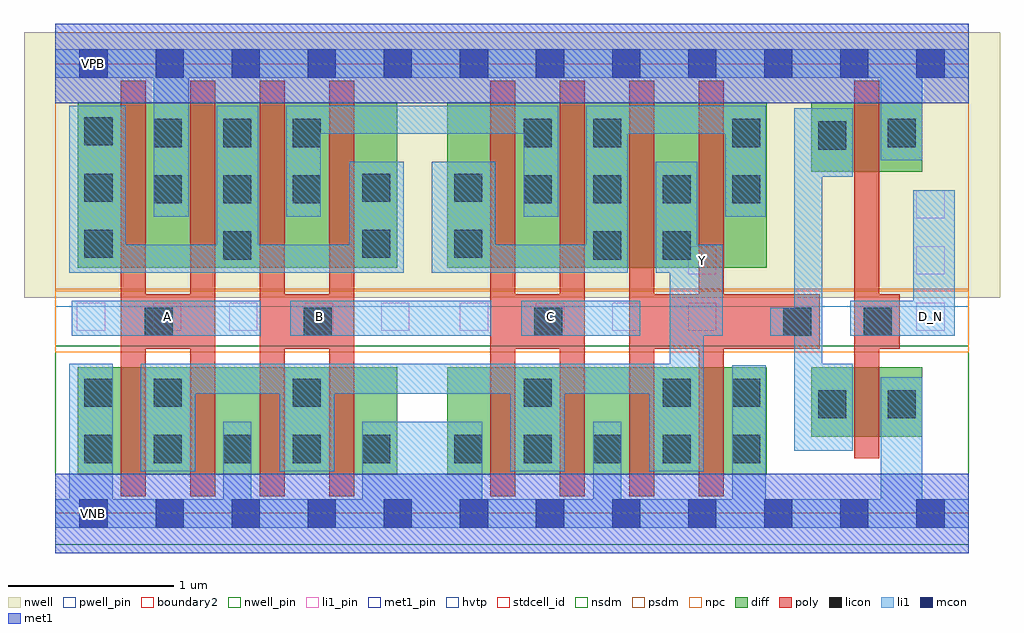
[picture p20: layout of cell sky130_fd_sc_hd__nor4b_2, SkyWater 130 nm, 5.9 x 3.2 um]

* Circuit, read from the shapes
.subckt sky130_fd_sc_hd__nor4b_2 A B C D_N VGND VNB VPB VPWR Y
XM1 Y A VGND VNB sky130_fd_pr__nfet_01v8 w=0.65 l=0.15 m=2
XM2 Y B VGND VNB sky130_fd_pr__nfet_01v8 w=0.65 l=0.15 m=2
XM3 Y C VGND VNB sky130_fd_pr__nfet_01v8 w=0.65 l=0.15 m=2
XM4 Y n1 VGND VNB sky130_fd_pr__nfet_01v8 w=0.65 l=0.15 m=2
XM5 VGND D_N n1 VNB sky130_fd_pr__nfet_01v8 w=0.42 l=0.15
XM6 VPWR A n2 VPB sky130_fd_pr__pfet_01v8_hvt w=1 l=0.15 m=2
XM7 n3 B n2 VPB sky130_fd_pr__pfet_01v8_hvt w=1 l=0.15 m=2
XM8 n3 C n4 VPB sky130_fd_pr__pfet_01v8_hvt w=1 l=0.15 m=2
XM9 Y n1 n4 VPB sky130_fd_pr__pfet_01v8_hvt w=1 l=0.15 m=2
XM10 VPWR D_N n1 VPB sky130_fd_pr__pfet_01v8_hvt w=0.42 l=0.15
.ends

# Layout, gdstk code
import gdstk
lib = gdstk.Library(unit=1e-6, precision=1e-09)
def R(c, l, rs):  # rectangles x0, y0, x1, y1
    for r in rs: c.add(gdstk.rectangle(r[:2], r[2:], *l))
def A(c, l, x, y, w, h, nx, ny, dx, dy):  # array of equal rectangles
    R(c, l, [(x+i*dx, y+j*dy, x+i*dx+w, y+j*dy+h) for i in range(nx) for j in range(ny)])
def P(c, l, *ps):  # polygons
    for p in ps: c.add(gdstk.Polygon(p, *l))
nwell_pin = (64, 16)
nwell = (64, 20)
diff = (65, 20)
poly = (66, 20)
licon = (66, 44)
li1_pin = (67, 16)
li1 = (67, 20)
mcon = (67, 44)
met1_pin = (68, 16)
met1 = (68, 20)
hvtp = (78, 44)
stdcell_id = (81, 4)
nsdm = (93, 44)
psdm = (94, 20)
npc = (95, 20)
pwell_pin = (122, 16)
boundary2 = (236, 0)

sky130_fd_sc_hd__nor4b_2 = lib.new_cell('sky130_fd_sc_hd__nor4b_2')
R(sky130_fd_sc_hd__nor4b_2, nwell_pin, [(0.145,2.635,0.315,2.805)])
R(sky130_fd_sc_hd__nor4b_2, nwell, [(-0.19,1.305,5.71,2.91)])
R(sky130_fd_sc_hd__nor4b_2, diff, [(0.135,0.235,2.065,0.885), (2.37,0.235,4.3,0.885), (4.57,0.465,5.24,0.885), (0.135,1.485,2.065,2.485), (2.37,1.485,4.3,2.485), (4.57,2.065,5.24,2.485)])
P(sky130_fd_sc_hd__nor4b_2, poly, [(4.83,0.335),(4.83,2.615),(4.98,2.615),(4.98,1.325),(5.105,1.325),(5.105,0.995),(4.98,0.995),(4.98,0.335)],
  [(3.47,0.105),(3.47,2.615),(3.62,2.615),(3.62,1.325),(3.89,1.325),(3.89,2.615),(4.04,2.615),(4.04,1.325),(4.62,1.325),(4.62,0.995),(4.04,0.995),(4.04,0.105),(3.89,0.105),(3.89,0.995),(3.62,0.995),(3.62,0.105)],
  [(2.63,0.105),(2.63,2.615),(2.78,2.615),(2.78,1.325),(3.05,1.325),(3.05,2.615),(3.2,2.615),(3.2,0.105),(3.05,0.105),(3.05,0.995),(2.78,0.995),(2.78,0.105)],
  [(1.235,0.105),(1.235,2.615),(1.385,2.615),(1.385,1.325),(1.655,1.325),(1.655,2.615),(1.805,2.615),(1.805,0.105),(1.655,0.105),(1.655,0.995),(1.385,0.995),(1.385,0.105)],
  [(0.395,0.105),(0.395,2.615),(0.545,2.615),(0.545,1.325),(0.815,1.325),(0.815,2.615),(0.965,2.615),(0.965,0.105),(0.815,0.105),(0.815,0.995),(0.545,0.995),(0.545,0.105)])
A(sky130_fd_sc_hd__nor4b_2, licon, 0.175, 0.305, 0.17, 0.17, 5, 1, 0.42, 0)
A(sky130_fd_sc_hd__nor4b_2, licon, 2.41, 0.305, 0.17, 0.17, 5, 1, 0.42, 0)
A(sky130_fd_sc_hd__nor4b_2, licon, 0.175, 1.545, 0.17, 0.17, 1, 3, 0, 0.34)
A(sky130_fd_sc_hd__nor4b_2, licon, 0.595, 1.875, 0.17, 0.17, 3, 2, 0.42, 0.34)
A(sky130_fd_sc_hd__nor4b_2, licon, 2.83, 1.875, 0.17, 0.17, 4, 1, 0.42, 0)
R(sky130_fd_sc_hd__nor4b_2, licon, [(4.61,0.575,4.78,0.745), (5.03,0.575,5.2,0.745), (0.175,0.645,0.345,0.815), (0.595,0.645,0.765,0.815), (1.435,0.645,1.605,0.815), (2.83,0.645,3,0.815), (3.67,0.645,3.84,0.815), (4.09,0.645,4.26,0.815), (0.54,1.075,0.71,1.245), (1.5,1.075,1.67,1.245), (2.895,1.075,3.065,1.245), (4.4,1.075,4.57,1.245), (4.885,1.075,5.055,1.245), (1.015,1.535,1.185,1.705), (3.25,1.535,3.42,1.705), (3.67,1.535,3.84,1.705), (1.855,1.545,2.025,1.715), (2.41,1.545,2.58,1.715), (1.855,1.885,2.025,2.055), (2.41,1.885,2.58,2.055), (4.61,2.2,4.78,2.37), (2.83,2.215,3,2.385), (3.25,2.215,3.42,2.385), (4.09,2.215,4.26,2.385), (5.03,2.215,5.2,2.385)])
A(sky130_fd_sc_hd__nor4b_2, li1_pin, 0.13, 1.105, 0.17, 0.17, 5, 1, 0.46, 0)
A(sky130_fd_sc_hd__nor4b_2, li1_pin, 2.445, 1.105, 0.17, 0.17, 4, 1, 0.46, 0)
A(sky130_fd_sc_hd__nor4b_2, li1_pin, 5.205, 1.105, 0.17, 0.17, 1, 3, 0, 0.34)
R(sky130_fd_sc_hd__nor4b_2, li1_pin, [(3.825,1.445,3.995,1.615)])
R(sky130_fd_sc_hd__nor4b_2, li1, [(0.1,1.075,1.24,1.285), (1.42,1.075,2.635,1.285), (2.815,1.075,3.535,1.285)])
P(sky130_fd_sc_hd__nor4b_2, li1, [(0.595,1.795),(0.595,2.635),(0,2.635),(0,2.805),(5.52,2.805),(5.52,2.635),(5.24,2.635),(5.24,2.135),(4.99,2.135),(4.99,2.635),(0.805,2.635),(0.805,1.795)],
  [(0,-0.085),(0,0.085),(0.085,0.085),(0.085,0.905),(0.345,0.905),(0.345,0.085),(1.015,0.085),(1.015,0.555),(1.185,0.555),(1.185,0.085),(1.855,0.085),(1.855,0.555),(2.58,0.555),(2.58,0.085),(3.25,0.085),(3.25,0.555),(3.42,0.555),(3.42,0.085),(4.09,0.085),(4.09,0.895),(4.295,0.895),(4.295,0.085),(4.99,0.085),(4.99,0.825),(5.24,0.825),(5.24,0.085),(5.52,0.085),(5.52,-0.085)],
  [(0.085,1.455),(0.085,2.465),(0.425,2.465),(0.425,1.625),(0.975,1.625),(0.975,2.465),(1.225,2.465),(1.225,1.625),(1.775,1.625),(1.775,2.125),(2.105,2.125),(2.105,1.455)],
  [(1.395,1.795),(1.395,2.465),(3.04,2.465),(3.04,1.795),(2.83,1.795),(2.83,2.295),(1.605,2.295),(1.605,1.795)],
  [(0.515,0.255),(0.515,0.905),(3.715,0.905),(3.715,1.455),(3.63,1.455),(3.63,2.125),(3.88,2.125),(3.88,1.625),(4.035,1.625),(4.035,1.075),(3.92,1.075),(3.92,0.255),(3.59,0.255),(3.59,0.725),(3.08,0.725),(3.08,0.255),(2.75,0.255),(2.75,0.725),(1.685,0.725),(1.685,0.255),(1.355,0.255),(1.355,0.725),(0.845,0.725),(0.845,0.255)],
  [(2.275,1.455),(2.275,2.125),(2.66,2.125),(2.66,1.625),(3.21,1.625),(3.21,2.465),(4.295,2.465),(4.295,1.795),(4.05,1.795),(4.05,2.295),(3.46,2.295),(3.46,1.455)],
  [(4.465,0.38),(4.465,1.075),(4.32,1.075),(4.32,1.245),(4.465,1.245),(4.465,2.45),(4.82,2.45),(4.82,2.035),(4.635,2.035),(4.635,0.905),(4.82,0.905),(4.82,0.38)],
  [(4.805,1.075),(4.805,1.285),(5.185,1.285),(5.185,1.955),(5.435,1.955),(5.435,1.075)])
A(sky130_fd_sc_hd__nor4b_2, mcon, 0.145, -0.085, 0.17, 0.17, 12, 2, 0.46, 2.72)
R(sky130_fd_sc_hd__nor4b_2, met1_pin, [(0.145,-0.085,0.315,0.085), (0.145,2.635,0.315,2.805)])
R(sky130_fd_sc_hd__nor4b_2, hvtp, [(0,1.25,5.52,2.72)])
R(sky130_fd_sc_hd__nor4b_2, stdcell_id, [(0,0,5.52,2.72)])
R(sky130_fd_sc_hd__nor4b_2, nsdm, [(0,-0.19,5.52,1.015)])
R(sky130_fd_sc_hd__nor4b_2, psdm, [(0,1.355,5.52,2.91)])
R(sky130_fd_sc_hd__nor4b_2, npc, [(0,0.975,5.52,1.345)])
R(sky130_fd_sc_hd__nor4b_2, pwell_pin, [(0.145,-0.085,0.315,0.085)])
R(sky130_fd_sc_hd__nor4b_2, boundary2, [(0,0,5.52,2.72)])
sky130_fd_sc_hd__nor4b_2.add(gdstk.FlexPath([(0,2.72),(5.52,2.72)], 0.48, ends="flush", simple_path=True, layer=68, datatype=20))  # met1
sky130_fd_sc_hd__nor4b_2.add(gdstk.FlexPath([(0,0),(5.52,0)], 0.48, ends="flush", simple_path=True, layer=68, datatype=20))  # met1
sky130_fd_sc_hd__nor4b_2.add(gdstk.Label('D_N', (5.29,1.19), layer=67, texttype=5))
sky130_fd_sc_hd__nor4b_2.add(gdstk.Label('Y', (3.91,1.53), layer=67, texttype=5))
sky130_fd_sc_hd__nor4b_2.add(gdstk.Label('C', (2.99,1.19), layer=67, texttype=5))
sky130_fd_sc_hd__nor4b_2.add(gdstk.Label('A', (0.675,1.19), layer=67, texttype=5))
sky130_fd_sc_hd__nor4b_2.add(gdstk.Label('B', (1.595,1.19), layer=67, texttype=5))
sky130_fd_sc_hd__nor4b_2.add(gdstk.Label('VNB', (0.23,0), layer=64, texttype=59))
sky130_fd_sc_hd__nor4b_2.add(gdstk.Label('VPB', (0.23,2.72), layer=64, texttype=5))
sky130_fd_sc_hd__nor4b_2.add(gdstk.Label('VGND', (0.23,0), layer=68, texttype=5))
sky130_fd_sc_hd__nor4b_2.add(gdstk.Label('VPWR', (0.23,2.72), layer=68, texttype=5))
sky130_fd_sc_hd__nor4b_2.add(gdstk.Label('nor4b_2', (0,0), layer=83, texttype=44))

lib.write_gds('sky130_fd_sc_hd__nor4b_2.gds')
